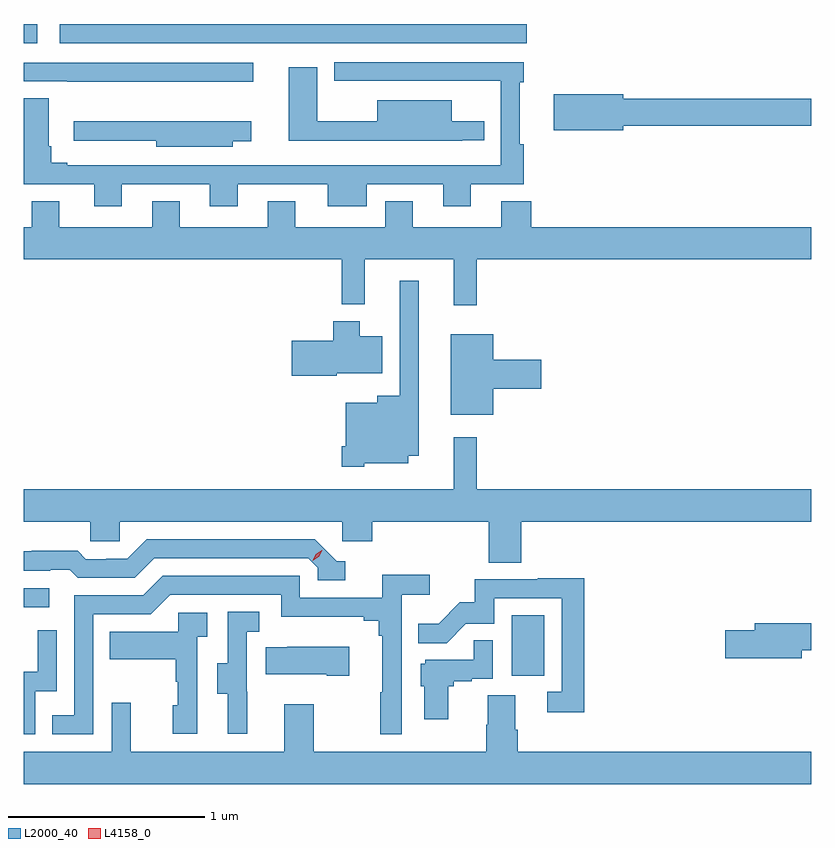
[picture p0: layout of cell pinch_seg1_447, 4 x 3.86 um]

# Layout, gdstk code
import gdstk
lib = gdstk.Library(unit=1e-6, precision=1e-09)
def R(c, l, rs):  # rectangles x0, y0, x1, y1
    for r in rs: c.add(gdstk.rectangle(r[:2], r[2:], *l))
def P(c, l, *ps):  # polygons
    for p in ps: c.add(gdstk.Polygon(p, *l))
L2000_40 = (2000, 40)
L4158_0 = (4158, 0)

pinch_seg1_447 = lib.new_cell('pinch_seg1_447')
R(pinch_seg1_447, L2000_40, [(983.432,518.982,983.596,519.289), (980.953,519.33,981.082,519.426), (980.953,522.195,981.022,522.292), (981.135,522.195,983.509,522.292)])
P(pinch_seg1_447, L2000_40, [(981.451,521.478),(981.899,521.478),(981.899,521.366),(982.039,521.366),(982.039,521.478),(982.496,521.478),(982.496,521.366),(982.696,521.366),(982.696,521.478),(983.084,521.478),(983.084,521.366),(983.224,521.366),(983.224,521.478),(983.492,521.478),(983.492,521.681),(983.473,521.681),(983.473,521.996),(983.492,521.996),(983.492,522.099),(982.529,522.099),(982.529,522.003),(983.376,522.003),(983.376,521.574),(981.175,521.574),(981.175,521.587),(981.092,521.587),(981.092,521.671),(981.079,521.671),(981.079,521.915),(980.953,521.915),(980.953,521.478),(981.311,521.478),(981.311,521.366),(981.451,521.366)],
  [(982.12,522.096),(980.953,522.096),(980.953,522),(981.175,522),(981.175,521.999),(982.12,521.999)],
  [(983.18,521.701),(983.291,521.701),(983.291,521.798),(983.128,521.798),(983.128,521.905),(982.748,521.905),(982.748,521.798),(982.444,521.798),(982.444,522.073),(982.298,522.073),(982.298,521.7),(982.852,521.7),(982.852,521.699),(983.18,521.699)],
  [(983.998,521.776),(984.953,521.776),(984.953,521.912),(983.998,521.912),(983.998,521.936),(983.646,521.936),(983.646,521.753),(983.998,521.753)],
  [(982.014,521.696),(982.108,521.696),(982.108,521.797),(981.73,521.797),(981.73,521.798),(981.207,521.798),(981.207,521.7),(981.626,521.7),(981.626,521.669),(982.014,521.669)],
  [(983.255,521.096),(984.953,521.096),(984.953,521.26),(983.531,521.26),(983.531,521.393),(983.378,521.393),(983.378,521.26),(982.93,521.26),(982.93,521.393),(982.79,521.393),(982.79,521.26),(982.333,521.26),(982.333,521.393),(982.193,521.393),(982.193,521.26),(981.745,521.26),(981.745,521.393),(981.605,521.393),(981.605,521.26),(981.133,521.26),(981.133,521.393),(980.993,521.393),(980.993,521.26),(980.953,521.26),(980.953,521.096),(982.567,521.096),(982.567,520.868),(982.685,520.868),(982.685,521.096),(983.138,521.096),(983.138,520.863),(983.255,520.863)],
  [(982.683,520.061),(982.906,520.061),(982.906,520.1),(982.96,520.1),(982.96,520.987),(982.863,520.987),(982.863,520.405),(982.748,520.405),(982.748,520.369),(982.589,520.369),(982.589,520.147),(982.568,520.147),(982.568,520.043),(982.683,520.043)],
  [(982.542,520.517),(982.774,520.517),(982.774,520.705),(982.66,520.705),(982.66,520.783),(982.526,520.783),(982.526,520.683),(982.314,520.683),(982.314,520.505),(982.542,520.505)],
  [(983.338,520.439),(983.581,520.439),(983.581,520.586),(983.338,520.586),(983.338,520.717),(983.123,520.717),(983.123,520.307),(983.338,520.307)],
  [(983.48,519.764),(984.953,519.764),(984.953,519.928),(983.255,519.928),(983.255,520.192),(983.137,520.192),(983.137,519.928),(980.953,519.928),(980.953,519.764),(981.291,519.764),(981.291,519.666),(981.441,519.666),(981.441,519.764),(982.572,519.764),(982.572,519.666),(982.724,519.666),(982.724,519.764),(983.315,519.764),(983.315,519.556),(983.48,519.556)],
  [(982.585,519.564),(982.542,519.564),(982.431,519.675),(981.578,519.675),(981.479,519.576),(981.372,519.576),(981.372,519.573),(981.269,519.573),(981.227,519.616),(980.994,519.616),(980.994,519.613),(980.953,519.613),(980.953,519.516),(981.089,519.516),(981.089,519.519),(981.188,519.519),(981.227,519.48),(981.516,519.48),(981.615,519.579),(982.398,519.579),(982.446,519.531),(982.446,519.468),(982.585,519.468)],
  [(981.306,519.294),(981.597,519.294),(981.696,519.393),(982.26,519.393),(982.26,519.281),(982.679,519.281),(982.679,519.262),(982.756,519.262),(982.756,519.185),(982.775,519.185),(982.775,518.897),(982.764,518.897),(982.764,518.685),(982.872,518.685),(982.872,519.392),(983.014,519.392),(983.014,519.494),(982.775,519.494),(982.775,519.378),(982.356,519.378),(982.356,519.489),(981.659,519.489),(981.56,519.39),(981.21,519.39),(981.21,518.781),(981.097,518.781),(981.097,518.685),(981.306,518.685)],
  [(983.801,519.476),(983.563,519.476),(983.563,519.471),(983.245,519.471),(983.245,519.354),(983.168,519.354),(983.061,519.247),(982.957,519.247),(982.957,519.148),(983.101,519.148),(983.199,519.246),(983.343,519.246),(983.343,519.375),(983.685,519.375),(983.685,518.901),(983.613,518.901),(983.613,518.796),(983.801,518.796)],
  [(982.088,518.901),(982.086,518.901),(982.086,519.205),(982.15,519.205),(982.15,519.308),(981.99,519.308),(981.99,519.045),(981.935,519.045),(981.935,518.89),(981.989,518.89),(981.989,518.688),(982.088,518.688)],
  [(981.834,519.179),(981.886,519.179),(981.886,519.303),(981.738,519.303),(981.738,519.205),(981.391,519.205),(981.391,519.065),(981.726,519.065),(981.726,518.951),(981.736,518.951),(981.736,518.832),(981.71,518.832),(981.71,518.688),(981.834,518.688)],
  [(984.904,519.112),(984.953,519.112),(984.953,519.248),(984.665,519.248),(984.665,519.212),(984.516,519.212),(984.516,519.07),(984.904,519.07)],
  [(981.012,518.904),(981.12,518.904),(981.12,519.214),(981.024,519.214),(981.024,519.002),(980.953,519.002),(980.953,518.685),(981.012,518.685)],
  [(983.11,518.928),(983.136,518.928),(983.136,518.955),(983.228,518.955),(983.228,518.967),(983.334,518.967),(983.334,519.161),(983.239,519.161),(983.239,519.063),(982.992,519.063),(982.992,519.042),(982.97,519.042),(982.97,518.928),(982.988,518.928),(982.988,518.76),(983.11,518.76)],
  [(982.606,519.13),(982.291,519.13),(982.291,519.127),(982.183,519.127),(982.183,518.99),(982.493,518.99),(982.493,518.983),(982.606,518.983)],
  [(984.953,518.596),(983.462,518.596),(983.462,518.708),(983.449,518.708),(983.449,518.882),(983.309,518.882),(983.309,518.733),(983.302,518.733),(983.302,518.596),(982.425,518.596),(982.425,518.836),(982.277,518.836),(982.277,518.596),(981.497,518.596),(981.497,518.845),(981.399,518.845),(981.399,518.596),(980.953,518.596),(980.953,518.432),(984.953,518.432)])
P(pinch_seg1_447, L4158_0, [(982.421,519.565),(982.421,519.566),(982.437,519.598),(982.467,519.618),(982.468,519.618),(982.468,519.618),(982.452,519.585),(982.422,519.565)])

lib.write_gds('pinch_seg1_447.gds')
